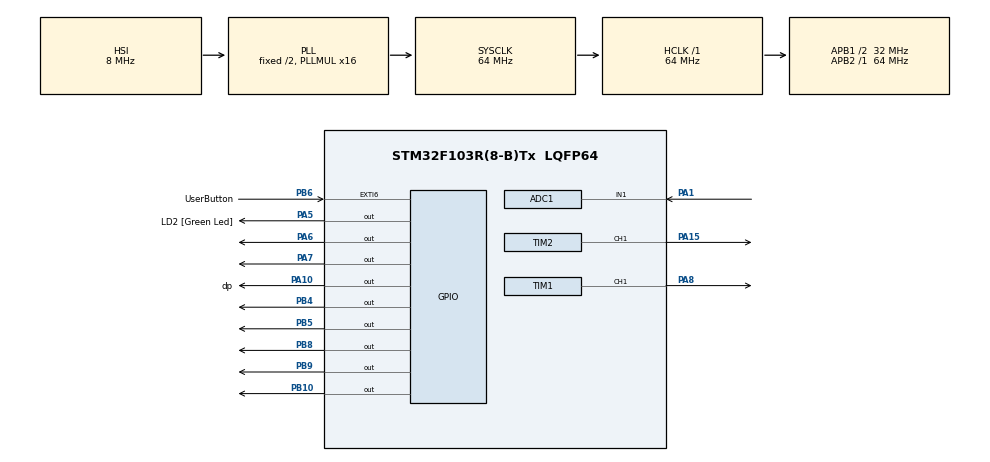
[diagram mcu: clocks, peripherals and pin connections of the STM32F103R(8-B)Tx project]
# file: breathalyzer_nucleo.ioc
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ADC1.Channel-3\#ChannelRegularConversion=ADC_CHANNEL_1
ADC1.ContinuousConvMode=ENABLE
ADC1.NbrOfConversionFlag=1
ADC1.Rank-3\#ChannelRegularConversion=1
ADC1.SamplingTime-3\#ChannelRegularConversion=ADC_SAMPLETIME_1CYCLE_5
ADC1.master=1
Mcu.Family=STM32F1
Mcu.Name=STM32F103R(8-B)Tx
Mcu.Package=LQFP64
NVIC.EXTI9_5_IRQn=true\:0\:0\:false\:false\:true\:true\:true\:true
NVIC.PriorityGroup=NVIC_PRIORITYGROUP_4
NVIC.TIM2_IRQn=true\:0\:0\:false\:false\:true\:true\:true\:true
NVIC.TIM3_IRQn=true\:0\:0\:false\:false\:true\:true\:true\:true
NVIC.TIM4_IRQn=true\:0\:0\:false\:false\:true\:true\:true\:true
PA0-WKUP.Mode=SYS_WakeUp0
PA0-WKUP.Signal=SYS_WKUP
PA1.Signal=ADCx_IN1
PA10.GPIO_Label=dp
PA10.Signal=GPIO_Output
PA13.GPIO_Label=TMS
PA13.Mode=Serial_Wire
PA13.Signal=SYS_JTMS-SWDIO
PA14.GPIO_Label=TCK
PA14.Mode=Serial_Wire
PA14.Signal=SYS_JTCK-SWCLK
PA15.Signal=S_TIM2_CH1_ETR
PA5.GPIO_Label=LD2 [Green Led]
PA5.GPIO_ModeDefaultOutputPP=GPIO_MODE_OUTPUT_PP
PA5.GPIO_PuPd=GPIO_NOPULL
PA5.GPIO_Speed=GPIO_SPEED_FREQ_LOW
PA5.Signal=GPIO_Output
PA6.Signal=GPIO_Output
PA7.Signal=GPIO_Output
PA8.Signal=S_TIM1_CH1
PB10.Signal=GPIO_Output
PB3.GPIO_Label=SWO
PB3.Signal=SYS_JTDO-TRACESWO
PB4.Signal=GPIO_Output
PB5.Signal=GPIO_Output
PB6.GPIO_Label=UserButton
PB6.GPIO_PuPd=GPIO_PULLDOWN
PB6.Signal=GPXTI6
PB8.Signal=GPIO_Output
PB9.Signal=GPIO_Output
PC14-OSC32_IN.Mode=LSE-External-Oscillator
PC14-OSC32_IN.Signal=RCC_OSC32_IN
PC15-OSC32_OUT.Mode=LSE-External-Oscillator
PC15-OSC32_OUT.Signal=RCC_OSC32_OUT
PD0-OSC_IN.Mode=HSE-External-Clock-Source
PD0-OSC_IN.Signal=RCC_OSC_IN
PD1-OSC_OUT.Mode=HSE-External-Clock-Source
PD1-OSC_OUT.Signal=RCC_OSC_OUT
ProjectManager.HeapSize=0x200
ProjectManager.StackSize=0x400
ProjectManager.TargetToolchain=CMake
RCC.ADCPresc=RCC_ADCPCLK2_DIV8
RCC.AHBFreq_Value=64000000
RCC.APB1CLKDivider=RCC_HCLK_DIV2
RCC.APB1Freq_Value=32000000
RCC.APB1TimFreq_Value=64000000
RCC.APB2Freq_Value=64000000
RCC.APB2TimFreq_Value=64000000
RCC.HCLKFreq_Value=64000000
RCC.PLLMUL=RCC_PLL_MUL16
RCC.RTCClockSelection=RCC_RTCCLKSOURCE_LSE
RCC.SYSCLKFreq_VALUE=64000000
RCC.SYSCLKSource=RCC_SYSCLKSOURCE_PLLCLK
RCC.USBFreq_Value=64000000
SH.ADCx_IN1.0=ADC1_IN1,IN1
SH.S_TIM1_CH1.0=TIM1_CH1,PWM Generation1 CH1
SH.S_TIM2_CH1_ETR.0=TIM2_CH1,PWM Generation1 CH1
TIM1.AutoReloadPreload=TIM_AUTORELOAD_PRELOAD_DISABLE
TIM1.Channel-PWM\ Generation1\ CH1=TIM_CHANNEL_1
TIM1.CounterMode=TIM_COUNTERMODE_UP
TIM1.Period=100
TIM1.Prescaler=63
TIM1.Pulse-PWM\ Generation1\ CH1=75
TIM2.Channel-PWM\ Generation1\ CH1=TIM_CHANNEL_1
TIM2.Period=1000
TIM2.Prescaler=63
TIM2.Pulse-PWM\ Generation1\ CH1=500
TIM3.Period=10
TIM3.Prescaler=6399
TIM4.Period=60000
TIM4.Prescaler=63999
VP_TIM1_VS_ClockSourceINT.Mode=Internal
VP_TIM2_VS_ClockSourceINT.Mode=Internal
VP_TIM3_VS_ClockSourceINT.Mode=Internal
VP_TIM4_VS_ClockSourceINT.Mode=Internal
board=NUCLEO-F103RB

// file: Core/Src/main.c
/* USER CODE BEGIN Header */
/**
  ******************************************************************************
  * @file           : main.c
  * @brief          : Main program body
  ******************************************************************************
  * @attention
  *
  * Copyright (c) 2025 STMicroelectronics.
  * All rights reserved.
  *
  * This software is licensed under terms that can be found in the LICENSE file
  * in the root directory of this software component.
  * If no LICENSE file comes with this software, it is provided AS-IS.
  *
  ******************************************************************************
  */
/* USER CODE END Header */
#include "main.h"

/* USER CODE BEGIN Includes */

#include <math.h>
#include <stdlib.h>

/* USER CODE END Includes */

/* USER CODE BEGIN PTD */

typedef struct{
  GPIO_PinState D;
  GPIO_PinState C;
  GPIO_PinState B;
  GPIO_PinState A;
} sevenSegmentDriver;

/* USER CODE END PTD */

/* USER CODE BEGIN PD */

#define VC 2.27f //manually calibrated
#define VCC 3.06f //manually calibrated
#define RL 33333.3f //not calibrated
#define R0 23000 //calibrated

/* USER CODE END PD */

ADC_HandleTypeDef hadc1;

TIM_HandleTypeDef htim1;
TIM_HandleTypeDef htim2;
TIM_HandleTypeDef htim3;
TIM_HandleTypeDef htim4;

/* USER CODE BEGIN PV */

uint16_t ADC_result_temp;
uint16_t ADC_result;
uint16_t display_value = 0;
uint16_t display_temp = 0;
uint8_t digit = 5; //iterator for 7-segment display, starts from 5
uint8_t maxDigits = 0;
GPIO_PinState buttonState = GPIO_PIN_RESET;
float BrAC = 0.0f;  //mg/L
float BAC = 0.0f; //%
uint8_t warmedUp = 0;
uint16_t ADC_measure_max = 0;
uint8_t measuring = 0; // Flag for measuring state
uint32_t measureCounter = 0; // Counter for measuring time
float sensorVoltage = 0.0f;
float RLVoltage = 0.0f;
uint32_t sensorResistance = 0;
uint32_t buzzerCounter = 0; // Counter for buzzer time

sevenSegmentDriver driverCode[11] = {
  {GPIO_PIN_RESET, GPIO_PIN_RESET, GPIO_PIN_RESET, GPIO_PIN_RESET}, //0
  {GPIO_PIN_RESET, GPIO_PIN_RESET, GPIO_PIN_RESET, GPIO_PIN_SET},   //1
  {GPIO_PIN_RESET, GPIO_PIN_RESET, GPIO_PIN_SET, GPIO_PIN_RESET},   //2
  {GPIO_PIN_RESET, GPIO_PIN_RESET, GPIO_PIN_SET, GPIO_PIN_SET},     //3
  {GPIO_PIN_RESET, GPIO_PIN_SET, GPIO_PIN_RESET, GPIO_PIN_RESET},   //4
  {GPIO_PIN_RESET, GPIO_PIN_SET, GPIO_PIN_RESET, GPIO_PIN_SET},     //5
  {GPIO_PIN_RESET, GPIO_PIN_SET, GPIO_PIN_SET, GPIO_PIN_RESET},     //6
  {GPIO_PIN_RESET, GPIO_PIN_SET, GPIO_PIN_SET, GPIO_PIN_SET},       //7
  {GPIO_PIN_SET, GPIO_PIN_RESET, GPIO_PIN_RESET, GPIO_PIN_RESET},   //8
  {GPIO_PIN_SET, GPIO_PIN_RESET, GPIO_PIN_RESET, GPIO_PIN_SET},     //9
  {GPIO_PIN_SET, GPIO_PIN_SET, GPIO_PIN_SET, GPIO_PIN_SET}          //off
};

/* USER CODE END PV */

void SystemClock_Config(void);
static void MX_GPIO_Init(void);
static void MX_TIM2_Init(void);
static void MX_ADC1_Init(void);
static void MX_TIM1_Init(void);
static void MX_TIM3_Init(void);
static void MX_TIM4_Init(void);
/* USER CODE BEGIN PFP */

void setDigit(uint8_t value, uint8_t digit);
uint8_t countDigits(uint8_t num);
void TIM2_callback(void);
void TIM3_callback(void);
void TIM4_callback(void);
void UserButton_callback(void);
void getADCvalue(void);
void warmup(void);
void stopBuzzer(void);

/* USER CODE END PFP */

int main(void)
{

  /* MCU Configuration--------------------------------------------------------*/

  /* Reset of all peripherals, Initializes the Flash interface and the Systick. */
  HAL_Init();

  /* Configure the system clock */
  SystemClock_Config();

  /* Initialize all configured peripherals */
  MX_GPIO_Init();
  MX_TIM2_Init();
  MX_ADC1_Init();
  MX_TIM1_Init();
  MX_TIM3_Init();
  MX_TIM4_Init();
  /* USER CODE BEGIN 2 */

  /* Run the ADC calibration */
  if (HAL_ADCEx_Calibration_Start(&hadc1) != HAL_OK)
  {
    /* Calibration Error */
    Error_Handler();
  }

  HAL_TIM_Base_Start_IT(&htim2);
  HAL_TIM_Base_Start_IT(&htim3);

  if(HAL_TIM_PWM_Start(&htim1,TIM_CHANNEL_1) != HAL_OK)
  	{
  		  /* Start Error */
  		  Error_Handler();
  	}

  HAL_GPIO_WritePin(LD2_GPIO_Port, LD2_Pin, GPIO_PIN_SET); // Power LED ON

  warmup(); // Wait for the sensor to warm up

  /* USER CODE END 2 */

  /* Infinite loop */
  while (1)
  {

  }
}

void SystemClock_Config(void)
{
  RCC_OscInitTypeDef RCC_OscInitStruct = {0};
  RCC_ClkInitTypeDef RCC_ClkInitStruct = {0};
  RCC_PeriphCLKInitTypeDef PeriphClkInit = {0};

  /** Initializes the RCC Oscillators according to the specified parameters
  * in the RCC_OscInitTypeDef structure.
  */
  RCC_OscInitStruct.OscillatorType = RCC_OSCILLATORTYPE_HSI;
  RCC_OscInitStruct.HSIState = RCC_HSI_ON;
  RCC_OscInitStruct.HSICalibrationValue = RCC_HSICALIBRATION_DEFAULT;
  RCC_OscInitStruct.PLL.PLLState = RCC_PLL_ON;
  RCC_OscInitStruct.PLL.PLLSource = RCC_PLLSOURCE_HSI_DIV2;
  RCC_OscInitStruct.PLL.PLLMUL = RCC_PLL_MUL16;
  if (HAL_RCC_OscConfig(&RCC_OscInitStruct) != HAL_OK)
  {
    Error_Handler();
  }

  /** Initializes the CPU, AHB and APB buses clocks
  */
  RCC_ClkInitStruct.ClockType = RCC_CLOCKTYPE_HCLK|RCC_CLOCKTYPE_SYSCLK
                              |RCC_CLOCKTYPE_PCLK1|RCC_CLOCKTYPE_PCLK2;
  RCC_ClkInitStruct.SYSCLKSource = RCC_SYSCLKSOURCE_PLLCLK;
  RCC_ClkInitStruct.AHBCLKDivider = RCC_SYSCLK_DIV1;
  RCC_ClkInitStruct.APB1CLKDivider = RCC_HCLK_DIV2;
  RCC_ClkInitStruct.APB2CLKDivider = RCC_HCLK_DIV1;

  if (HAL_RCC_ClockConfig(&RCC_ClkInitStruct, FLASH_LATENCY_2) != HAL_OK)
  {
    Error_Handler();
  }
  PeriphClkInit.PeriphClockSelection = RCC_PERIPHCLK_ADC;
  PeriphClkInit.AdcClockSelection = RCC_ADCPCLK2_DIV8;
  if (HAL_RCCEx_PeriphCLKConfig(&PeriphClkInit) != HAL_OK)
  {
    Error_Handler();
  }
}

static void MX_ADC1_Init(void)
{

  ADC_ChannelConfTypeDef sConfig = {0};

  /** Common config
  */
  hadc1.Instance = ADC1;
  hadc1.Init.ScanConvMode = ADC_SCAN_DISABLE;
  hadc1.Init.ContinuousConvMode = ENABLE;
  hadc1.Init.DiscontinuousConvMode = DISABLE;
  hadc1.Init.ExternalTrigConv = ADC_SOFTWARE_START;
  hadc1.Init.DataAlign = ADC_DATAALIGN_RIGHT;
  hadc1.Init.NbrOfConversion = 1;
  if (HAL_ADC_Init(&hadc1) != HAL_OK)
  {
    Error_Handler();
  }

  /** Configure Regular Channel
  */
  sConfig.Channel = ADC_CHANNEL_1;
  sConfig.Rank = ADC_REGULAR_RANK_1;
  sConfig.SamplingTime = ADC_SAMPLETIME_1CYCLE_5;
  if (HAL_ADC_ConfigChannel(&hadc1, &sConfig) != HAL_OK)
  {
    Error_Handler();
  }

}

static void MX_TIM1_Init(void)
{

  TIM_ClockConfigTypeDef sClockSourceConfig = {0};
  TIM_MasterConfigTypeDef sMasterConfig = {0};
  TIM_OC_InitTypeDef sConfigOC = {0};
  TIM_BreakDeadTimeConfigTypeDef sBreakDeadTimeConfig = {0};

  htim1.Instance = TIM1;
  htim1.Init.Prescaler = 63;
  htim1.Init.CounterMode = TIM_COUNTERMODE_UP;
  htim1.Init.Period = 100;
  htim1.Init.ClockDivision = TIM_CLOCKDIVISION_DIV1;
  htim1.Init.RepetitionCounter = 0;
  htim1.Init.AutoReloadPreload = TIM_AUTORELOAD_PRELOAD_DISABLE;
  if (HAL_TIM_Base_Init(&htim1) != HAL_OK)
  {
    Error_Handler();
  }
  sClockSourceConfig.ClockSource = TIM_CLOCKSOURCE_INTERNAL;
  if (HAL_TIM_ConfigClockSource(&htim1, &sClockSourceConfig) != HAL_OK)
  {
    Error_Handler();
  }
  if (HAL_TIM_PWM_Init(&htim1) != HAL_OK)
  {
    Error_Handler();
  }
  sMasterConfig.MasterOutputTrigger = TIM_TRGO_RESET;
  sMasterConfig.MasterSlaveMode = TIM_MASTERSLAVEMODE_DISABLE;
  if (HAL_TIMEx_MasterConfigSynchronization(&htim1, &sMasterConfig) != HAL_OK)
  {
    Error_Handler();
  }
  sConfigOC.OCMode = TIM_OCMODE_PWM1;
  sConfigOC.Pulse = 75;
  sConfigOC.OCPolarity = TIM_OCPOLARITY_HIGH;
  sConfigOC.OCNPolarity = TIM_OCNPOLARITY_HIGH;
  sConfigOC.OCFastMode = TIM_OCFAST_DISABLE;
  sConfigOC.OCIdleState = TIM_OCIDLESTATE_RESET;
  sConfigOC.OCNIdleState = TIM_OCNIDLESTATE_RESET;
  if (HAL_TIM_PWM_ConfigChannel(&htim1, &sConfigOC, TIM_CHANNEL_1) != HAL_OK)
  {
    Error_Handler();
  }
  sBreakDeadTimeConfig.OffStateRunMode = TIM_OSSR_DISABLE;
  sBreakDeadTimeConfig.OffStateIDLEMode = TIM_OSSI_DISABLE;
  sBreakDeadTimeConfig.LockLevel = TIM_LOCKLEVEL_OFF;
  sBreakDeadTimeConfig.DeadTime = 0;
  sBreakDeadTimeConfig.BreakState = TIM_BREAK_DISABLE;
  sBreakDeadTimeConfig.BreakPolarity = TIM_BREAKPOLARITY_HIGH;
  sBreakDeadTimeConfig.AutomaticOutput = TIM_AUTOMATICOUTPUT_DISABLE;
  if (HAL_TIMEx_ConfigBreakDeadTime(&htim1, &sBreakDeadTimeConfig) != HAL_OK)
  {
    Error_Handler();
  }
  HAL_TIM_MspPostInit(&htim1);

}

static void MX_TIM2_Init(void)
{

  TIM_ClockConfigTypeDef sClockSourceConfig = {0};
  TIM_MasterConfigTypeDef sMasterConfig = {0};
  TIM_OC_InitTypeDef sConfigOC = {0};

  htim2.Instance = TIM2;
  htim2.Init.Prescaler = 63;
  htim2.Init.CounterMode = TIM_COUNTERMODE_UP;
  htim2.Init.Period = 1000;
  htim2.Init.ClockDivision = TIM_CLOCKDIVISION_DIV1;
  htim2.Init.AutoReloadPreload = TIM_AUTORELOAD_PRELOAD_DISABLE;
  if (HAL_TIM_Base_Init(&htim2) != HAL_OK)
  {
    Error_Handler();
  }
  sClockSourceConfig.ClockSource = TIM_CLOCKSOURCE_INTERNAL;
  if (HAL_TIM_ConfigClockSource(&htim2, &sClockSourceConfig) != HAL_OK)
  {
    Error_Handler();
  }
  if (HAL_TIM_PWM_Init(&htim2) != HAL_OK)
  {
    Error_Handler();
  }
  sMasterConfig.MasterOutputTrigger = TIM_TRGO_RESET;
  sMasterConfig.MasterSlaveMode = TIM_MASTERSLAVEMODE_DISABLE;
  if (HAL_TIMEx_MasterConfigSynchronization(&htim2, &sMasterConfig) != HAL_OK)
  {
    Error_Handler();
  }
  sConfigOC.OCMode = TIM_OCMODE_PWM1;
  sConfigOC.Pulse = 500;
  sConfigOC.OCPolarity = TIM_OCPOLARITY_HIGH;
  sConfigOC.OCFastMode = TIM_OCFAST_DISABLE;
  if (HAL_TIM_PWM_ConfigChannel(&htim2, &sConfigOC, TIM_CHANNEL_1) != HAL_OK)
  {
    Error_Handler();
  }
  HAL_TIM_MspPostInit(&htim2);

}

static void MX_TIM3_Init(void)
{

  TIM_ClockConfigTypeDef sClockSourceConfig = {0};
  TIM_MasterConfigTypeDef sMasterConfig = {0};

  htim3.Instance = TIM3;
  htim3.Init.Prescaler = 6399;
  htim3.Init.CounterMode = TIM_COUNTERMODE_UP;
  htim3.Init.Period = 10;
  htim3.Init.ClockDivision = TIM_CLOCKDIVISION_DIV1;
  htim3.Init.AutoReloadPreload = TIM_AUTORELOAD_PRELOAD_DISABLE;
  if (HAL_TIM_Base_Init(&htim3) != HAL_OK)
  {
    Error_Handler();
  }
  sClockSourceConfig.ClockSource = TIM_CLOCKSOURCE_INTERNAL;
  if (HAL_TIM_ConfigClockSource(&htim3, &sClockSourceConfig) != HAL_OK)
  {
    Error_Handler();
  }
  sMasterConfig.MasterOutputTrigger = TIM_TRGO_RESET;
  sMasterConfig.MasterSlaveMode = TIM_MASTERSLAVEMODE_DISABLE;
  if (HAL_TIMEx_MasterConfigSynchronization(&htim3, &sMasterConfig) != HAL_OK)
  {
    Error_Handler();
  }

}

static void MX_TIM4_Init(void)
{

  TIM_ClockConfigTypeDef sClockSourceConfig = {0};
  TIM_MasterConfigTypeDef sMasterConfig = {0};

  htim4.Instance = TIM4;
  htim4.Init.Prescaler = 63999;
  htim4.Init.CounterMode = TIM_COUNTERMODE_UP;
  htim4.Init.Period = 60000;
  htim4.Init.ClockDivision = TIM_CLOCKDIVISION_DIV1;
  htim4.Init.AutoReloadPreload = TIM_AUTORELOAD_PRELOAD_DISABLE;
  if (HAL_TIM_Base_Init(&htim4) != HAL_OK)
  {
    Error_Handler();
  }
  sClockSourceConfig.ClockSource = TIM_CLOCKSOURCE_INTERNAL;
  if (HAL_TIM_ConfigClockSource(&htim4, &sClockSourceConfig) != HAL_OK)
  {
    Error_Handler();
  }
  sMasterConfig.MasterOutputTrigger = TIM_TRGO_RESET;
  sMasterConfig.MasterSlaveMode = TIM_MASTERSLAVEMODE_DISABLE;
  if (HAL_TIMEx_MasterConfigSynchronization(&htim4, &sMasterConfig) != HAL_OK)
  {
    Error_Handler();
  }

}

static void MX_GPIO_Init(void)
{
  GPIO_InitTypeDef GPIO_InitStruct = {0};

  /* GPIO Ports Clock Enable */
  __HAL_RCC_GPIOC_CLK_ENABLE();
  __HAL_RCC_GPIOD_CLK_ENABLE();
  __HAL_RCC_GPIOA_CLK_ENABLE();
  __HAL_RCC_GPIOB_CLK_ENABLE();

  /*Configure GPIO pin Output Level */
  HAL_GPIO_WritePin(GPIOA, LD2_Pin|GPIO_PIN_6|GPIO_PIN_7|dp_Pin, GPIO_PIN_RESET);

  /*Configure GPIO pin Output Level */
  HAL_GPIO_WritePin(GPIOB, GPIO_PIN_10|GPIO_PIN_4|GPIO_PIN_5|GPIO_PIN_8
                          |GPIO_PIN_9, GPIO_PIN_RESET);

  /*Configure GPIO pins : LD2_Pin PA6 PA7 dp_Pin */
  GPIO_InitStruct.Pin = LD2_Pin|GPIO_PIN_6|GPIO_PIN_7|dp_Pin;
  GPIO_InitStruct.Mode = GPIO_MODE_OUTPUT_PP;
  GPIO_InitStruct.Pull = GPIO_NOPULL;
  GPIO_InitStruct.Speed = GPIO_SPEED_FREQ_LOW;
  HAL_GPIO_Init(GPIOA, &GPIO_InitStruct);

  /*Configure GPIO pins : PB10 PB4 PB5 PB8
                           PB9 */
  GPIO_InitStruct.Pin = GPIO_PIN_10|GPIO_PIN_4|GPIO_PIN_5|GPIO_PIN_8
                          |GPIO_PIN_9;
  GPIO_InitStruct.Mode = GPIO_MODE_OUTPUT_PP;
  GPIO_InitStruct.Pull = GPIO_NOPULL;
  GPIO_InitStruct.Speed = GPIO_SPEED_FREQ_LOW;
  HAL_GPIO_Init(GPIOB, &GPIO_InitStruct);

  /*Configure GPIO pin : UserButton_Pin */
  GPIO_InitStruct.Pin = UserButton_Pin;
  GPIO_InitStruct.Mode = GPIO_MODE_IT_RISING;
  GPIO_InitStruct.Pull = GPIO_PULLDOWN;
  HAL_GPIO_Init(UserButton_GPIO_Port, &GPIO_InitStruct);

  /* EXTI interrupt init*/
  HAL_NVIC_SetPriority(EXTI9_5_IRQn, 0, 0);
  HAL_NVIC_EnableIRQ(EXTI9_5_IRQn);

}

/* USER CODE BEGIN 4 */

void setDigit(uint8_t value, uint8_t digit)
{
  switch (digit){
    case 1:
      HAL_GPIO_WritePin(GPIOB, GPIO_PIN_5, GPIO_PIN_RESET);   //100
      HAL_GPIO_WritePin(GPIOB, GPIO_PIN_4, GPIO_PIN_RESET);   //10
      HAL_GPIO_WritePin(GPIOB, GPIO_PIN_10, GPIO_PIN_SET);  //1
      HAL_GPIO_WritePin(dp_GPIO_Port, dp_Pin, GPIO_PIN_SET); //DP
      break;
    case 2:
      HAL_GPIO_WritePin(GPIOB, GPIO_PIN_5, GPIO_PIN_RESET);   //100
      HAL_GPIO_WritePin(GPIOB, GPIO_PIN_4, GPIO_PIN_SET);   //10
      HAL_GPIO_WritePin(GPIOB, GPIO_PIN_10, GPIO_PIN_RESET);  //1
      HAL_GPIO_WritePin(dp_GPIO_Port, dp_Pin, GPIO_PIN_SET); //DP
      break;
    case 3:
      HAL_GPIO_WritePin(GPIOB, GPIO_PIN_5, GPIO_PIN_SET);   //100
      HAL_GPIO_WritePin(GPIOB, GPIO_PIN_4, GPIO_PIN_RESET);   //10
      HAL_GPIO_WritePin(GPIOB, GPIO_PIN_10, GPIO_PIN_RESET);  //1
      HAL_GPIO_WritePin(dp_GPIO_Port, dp_Pin, GPIO_PIN_RESET); //DP
      break;
    default:
      HAL_GPIO_WritePin(GPIOB, GPIO_PIN_5, GPIO_PIN_RESET);   //100
      HAL_GPIO_WritePin(GPIOB, GPIO_PIN_4, GPIO_PIN_RESET);   //10
      HAL_GPIO_WritePin(GPIOB, GPIO_PIN_10, GPIO_PIN_RESET);  //1
      HAL_GPIO_WritePin(dp_GPIO_Port, dp_Pin, GPIO_PIN_SET); //DP
      break;
  }
  if(value < 11)
  {
    HAL_GPIO_WritePin(GPIOB, GPIO_PIN_8, driverCode[value].A); //A
    HAL_GPIO_WritePin(GPIOB, GPIO_PIN_9, driverCode[value].B); //B
    HAL_GPIO_WritePin(GPIOA, GPIO_PIN_6, driverCode[value].C); //C
    HAL_GPIO_WritePin(GPIOA, GPIO_PIN_7, driverCode[value].D); //D
  }
}

void TIM3_callback(void)
{
  //measure
  if(measuring)
  {
    //measure start
    getADCvalue(); // Get ADC value
    if(ADC_result > ADC_measure_max)
    {
      ADC_measure_max = ADC_result; // Get max ADC value
    }

    measureCounter++;

    switch (measureCounter)
    {
    case 1:
      ADC_measure_max = 0; // Reset max ADC value
      sensorVoltage = 0.0f; // Reset sensor voltage
      sensorResistance = 0; // Reset sensor resistance
      RLVoltage = 0.0f;

      HAL_TIM_PWM_Start(&htim2, TIM_CHANNEL_1); // Start buzzer

      break;
    case 7000:
      measuring = 0; // Stop measuring
      measureCounter = 0; // Reset counter

      //TODO: Calculate BAC value
      RLVoltage = (ADC_measure_max * VCC) / 4096.0f; // Convert ADC value to RL voltage
      sensorVoltage = VC - RLVoltage; // Convert RL voltage to sensor voltage
      sensorResistance = sensorVoltage * RL / (VC - sensorVoltage); // Calculate sensor resistance
      BrAC = 0.366 * pow((10*sensorResistance)/R0, -1.509); //sensor characteristics from datasheet
      BAC = ((BrAC*2100)/1000)/10;  //2100 BrAC to BAC conversion factor

      display_value = round(BAC * 100); // Convert voltage to display value

      HAL_TIM_PWM_Start(&htim2, TIM_CHANNEL_1); // Start buzzer
      HAL_TIM_Base_Start_IT(&htim4);  // standby timeout
    default:
      break;
    }
  }

  //set display
  if (digit<=3)
  {

    setDigit(display_temp%10, digit); // Set the digit to display
    display_temp = display_temp/10;

    digit++;
  }
  else
  {
    display_temp = display_value;

    digit = 1;
  }
}

uint8_t countDigits(uint8_t num) { //for 7 segment display
  if (num == 0) return 1; // Special case for 0
  return (uint8_t)log10(abs(num)) + 1;
}

void stopBuzzer(void)
{
  HAL_TIM_PWM_Stop(&htim2, TIM_CHANNEL_1); // Stop buzzer
}

void TIM2_callback(void)
{
  buzzerCounter++;
  if(buzzerCounter >= 500) // 0.5 second
  {
    buzzerCounter = 0; // Reset counter
    stopBuzzer(); // Stop buzzer
  }
}

void TIM4_callback(void)
{
  if (__HAL_PWR_GET_FLAG(PWR_FLAG_SB) != RESET)
  {
    __HAL_PWR_CLEAR_FLAG(PWR_FLAG_SB); // Clear Standby flag
    // Proceed to main application
  }
  else
  {
    HAL_GPIO_WritePin(LD2_GPIO_Port, LD2_Pin, GPIO_PIN_SET); // Power LED OFF

    HAL_PWR_DisableWakeUpPin(PWR_WAKEUP_PIN1); // Disable before configuring

    __HAL_PWR_CLEAR_FLAG(PWR_FLAG_WU | PWR_FLAG_SB); // Clear wakeup & standby flags

    HAL_PWR_EnableWakeUpPin(PWR_WAKEUP_PIN1); // Enable wakeup pin

    HAL_PWR_EnterSTANDBYMode(); // Enter standby mode
  }
}

void userButton_callback(void)
{
  if(warmedUp){
    HAL_TIM_Base_Stop_IT(&htim4); // stop and reset standby timeout
    __HAL_TIM_SET_COUNTER(&htim4, 0);

    measuring = 1; // Start measuring
  }
}

void getADCvalue(void)
{
  //ADC polling
  if (HAL_ADC_Start(&hadc1) != HAL_OK)
	{
	  /* Start Error */
	  Error_Handler();
	}

  ADC_result_temp = 0;

	for(uint16_t i = 0; i<255; i++)
	{
	  HAL_ADC_PollForConversion(&hadc1, 1000);
	  ADC_result_temp += HAL_ADC_GetValue(&hadc1);
    ADC_result_temp = ADC_result_temp/2;
	}

	ADC_result = ADC_result_temp;

	HAL_ADC_Stop(&hadc1);
}

void warmup(void)
{

  display_value = 0.0f * 100;
  //getADCvalue(); // Get ADC value

  HAL_Delay(10000);

  warmedUp = 1;
  HAL_TIM_PWM_Start(&htim2, TIM_CHANNEL_1); // Start buzzer

  HAL_TIM_Base_Start_IT(&htim4); // standby timeout

  /* EXTI interrupt init*/
  HAL_NVIC_SetPriority(EXTI9_5_IRQn, 0, 0);
  HAL_NVIC_EnableIRQ(EXTI9_5_IRQn);
}

/* USER CODE END 4 */

void Error_Handler(void)
{
  __disable_irq();
  while (1)
  {
  }
}
